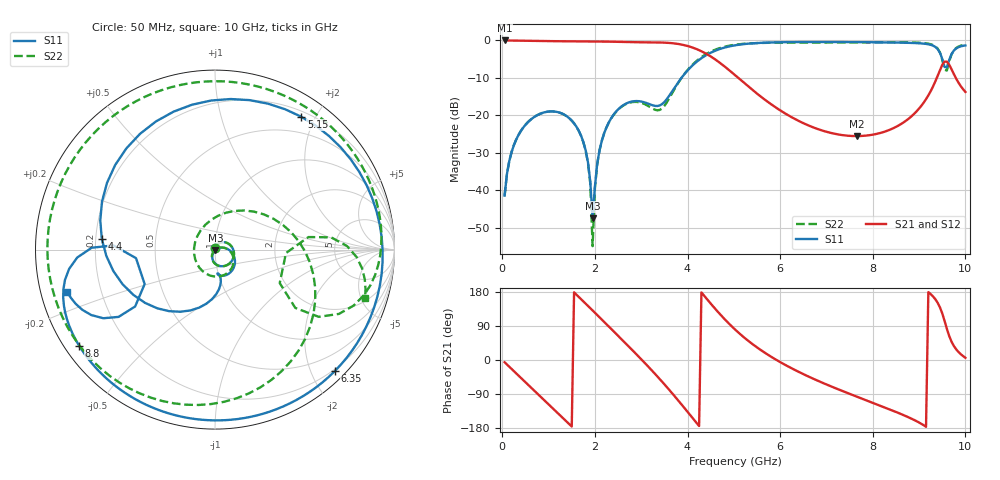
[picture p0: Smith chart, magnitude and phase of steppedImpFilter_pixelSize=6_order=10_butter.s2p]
! freq	dB(S11)	phase(S11)	dB(S12)	phase(S12)
!  dB(S21)	phase(S21)	dB(S22)	phase(S22)
!S-par simulation data
#  GHz  S  DB  R 50
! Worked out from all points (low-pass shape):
!   200 points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, 50 MHz to 10 GHz, reference 50 ohm
!   highest |S21| = -0.02 dB at 50 MHz (marker M1); lowest = -25.5 dB at 7.65 GHz (marker M2)
!   |S21| within 3 dB of the highest: start of sweep to 4.32 GHz
!   lowest |S11| = -47.4 dB at 1.95 GHz (marker M3), VSWR 1.01, Z = 50.2 - j0.371 ohm
!   |S11| at or under -10 dB: start of sweep to 3.869 GHz
!   |S22| runs from -54.9 to -0.5 dB; largest |S21 - S12| = 0
!   S11 on the Smith chart (normalised r, x): 50 MHz: 1.00, +0.02; 4.4 GHz: 0.22, +0.05; 5.15 GHz: 0.27, +1.81; 6.35 GHz: 0.17, -2.38; 8.8 GHz: 0.04, -0.32; 10 GHz: 0.08, -0.14
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0.05  -41.43 76.9  -0.02 -6.0  -0.02 -6.0  -41.42 77.0
0.3  -26.47 53.0  -0.06 -35.3  -0.06 -35.3  -26.46 53.3
0.85  -19.43 -9.4  -0.17 -99.5  -0.17 -99.5  -19.42 -9.0
1.75  -27.11 -110.4  -0.24 154.8  -0.24 154.8  -27.15 -113.6
1.9  -37.74 -115.8  -0.26 136.8  -0.26 136.8  -38.16 -127.9
1.95  -47.44 -60.6  -0.26 130.8  -0.26 130.8  -54.90 -70.3
2.05  -32.91 19.7  -0.28 118.7  -0.28 118.7  -33.00 25.4
2.3  -21.89 -2.2  -0.33 88.4  -0.33 88.4  -21.92 -3.6
2.9  -16.18 -64.7  -0.50 14.6  -0.50 14.6  -16.42 -84.6
3.4  -17.35 -81.9  -0.56 -50.3  -0.56 -50.3  -18.55 159.6
3.8  -11.16 -93.4  -0.96 -106.9  -0.96 -106.9  -11.31 53.2
4.4  -3.96 174.4  -3.54 163.5  -3.54 163.5  -3.68 -33.0
5.05  -1.26 70.1  -9.53 77.8  -9.53 77.8  -1.12 -100.5
5.15  -1.09 57.0  -10.59 66.9  -10.59 66.9  -0.98 -109.3
5.65  -0.62 4.2  -15.64 20.7  -15.64 20.7  -0.66 -148.7
6.35  -0.44 -45.5  -21.17 -28.3  -21.17 -28.3  -0.58 163.0
6.7  -0.42 -64.1  -23.14 -48.6  -23.14 -48.6  -0.58 140.2
7.65  -0.46 -104.1  -25.53 -96.4  -25.53 -96.4  -0.55 81.2
8.35  -0.54 -128.8  -23.93 -129.6  -23.93 -129.6  -0.52 40.9
8.8  -0.66 -144.7  -20.63 -152.8  -20.63 -152.8  -0.55 16.0
9.55  -7.08 -173.8  -5.67 103.4  -5.67 103.4  -7.83 -27.3
10  -1.34 -164.2  -13.76 5.8  -13.76 5.8  -1.12 -17.9
